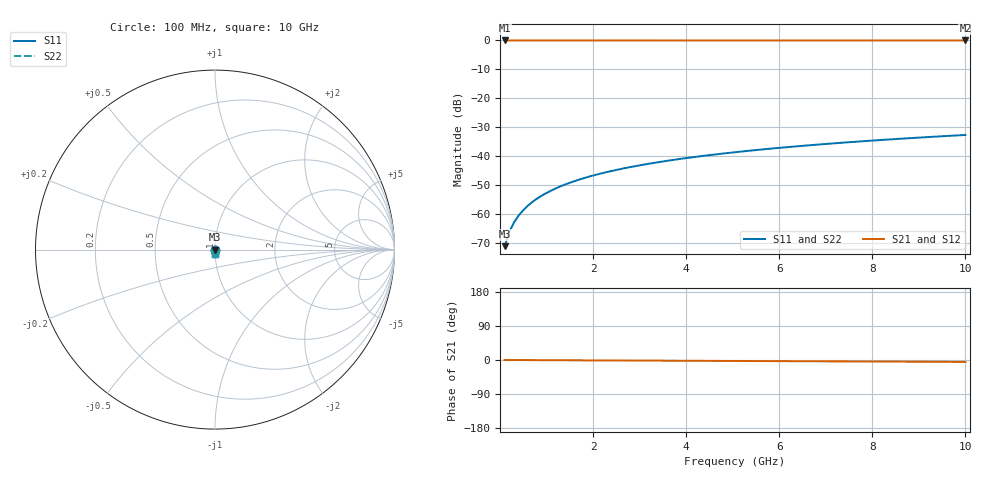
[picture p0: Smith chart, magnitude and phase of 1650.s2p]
# Hz S RI R 50.00
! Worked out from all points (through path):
!   100 points, 100 MHz to 10 GHz, reference 50 ohm
!   highest |S21| = 0.00 dB at 100 MHz (marker M1); lowest = 0.0 dB at 10 GHz (marker M2)
!   lowest |S11| = -71.2 dB at 100 MHz (marker M3), VSWR 1.00, Z = 50 - j0.0228 ohm
!   |S11| at or under -10 dB: start of sweep to end of sweep
!   |S22| runs from -71.2 to -32.7 dB; largest |S21 - S12| = 0
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1e8  0.000152 -0.000228  0.9998 -0.000874  0.9998 -0.000874  0.000152 -0.000228
2e8  0.000151 -0.000457  0.9998 -0.00175  0.9998 -0.00175  0.000151 -0.000457
3e8  0.000151 -0.000685  0.9998 -0.00262  0.9998 -0.00262  0.000151 -0.000685
4e8  0.000149 -0.000914  0.9998 -0.0035  0.9998 -0.0035  0.000149 -0.000914
5e8  0.000148 -0.00114  0.9998 -0.00437  0.9998 -0.00437  0.000148 -0.00114
6e8  0.000145 -0.00137  0.9998 -0.00525  0.9998 -0.00525  0.000145 -0.00137
7e8  0.000143 -0.0016  0.9998 -0.00612  0.9998 -0.00612  0.000143 -0.0016
8e8  0.00014 -0.00183  0.9998 -0.007  0.9998 -0.007  0.00014 -0.00183
9e8  0.000136 -0.00206  0.9998 -0.00787  0.9998 -0.00787  0.000136 -0.00206
1.1e9  0.000128 -0.00251  0.9998 -0.00962  0.9998 -0.00962  0.000128 -0.00251
1.4e9  0.000112 -0.0032  0.9998 -0.0122  0.9998 -0.0122  0.000112 -0.0032
1.8e9  8.53e-05 -0.00412  0.9997 -0.0157  0.9997 -0.0157  8.53e-05 -0.00412
2.1e9  6.1e-05 -0.00481  0.9996 -0.0184  0.9996 -0.0184  6.1e-05 -0.00481
2.5e9  2.28e-05 -0.00572  0.9996 -0.0219  0.9996 -0.0219  2.28e-05 -0.00572
2.9e9  -2.19e-05 -0.00664  0.9995 -0.0254  0.9995 -0.0254  -2.19e-05 -0.00664
3.4e9  -8.69e-05 -0.00779  0.9993 -0.0298  0.9993 -0.0298  -8.69e-05 -0.00779
4.2e9  -0.000212 -0.00964  0.9991 -0.0368  0.9991 -0.0368  -0.000212 -0.00964
5.1e9  -0.000385 -0.0117  0.9987 -0.0448  0.9987 -0.0448  -0.000385 -0.0117
5.9e9  -0.000567 -0.0136  0.9984 -0.0518  0.9984 -0.0518  -0.000567 -0.0136
6.7e9  -0.000775 -0.0154  0.9979 -0.0589  0.9979 -0.0589  -0.000775 -0.0154
8.4e9  -0.00131 -0.0193  0.9969 -0.074  0.9969 -0.074  -0.00131 -0.0193
1e10  -0.00192 -0.023  0.9956 -0.0882  0.9956 -0.0882  -0.00192 -0.023
